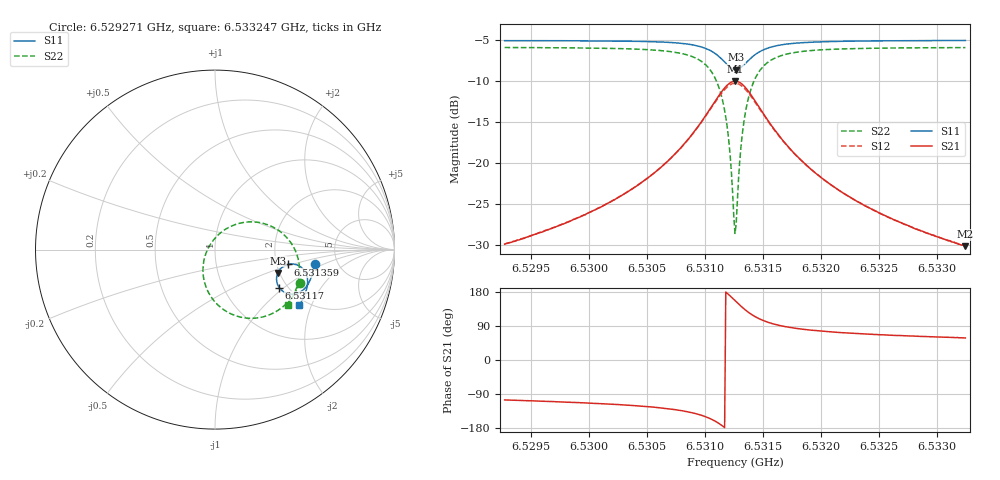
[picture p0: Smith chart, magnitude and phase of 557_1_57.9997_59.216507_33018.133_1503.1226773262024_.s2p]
#  HZ  S  RI  R  50.00
! Rohde & Schwarz Vector Network Analyzer
! Rohde-Schwarz,ZNB20-2Port,1311601062101988,3.16
! Created: UTC 3/21/2024, 1:15:14 AM
! freq[Hz]  re:S11  im:S11  re:S21  im:S21  re:S12  im:S12  re:S22  im:S22
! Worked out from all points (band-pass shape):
!   401 points, 6.529271 GHz to 6.533247 GHz, reference 50 ohm
!   highest |S21| = -9.97 dB at 6.531259 GHz (marker M1); lowest = -30.1 dB at 6.533247 GHz (marker M2)
!   |S21| within 3 dB of the highest: 6.531062 GHz to 6.531459 GHz (397.2 kHz wide, 0.00608 % of centre)
!   lowest |S11| = -8.6 dB at 6.531269 GHz (marker M3), VSWR 2.19, Z = 97.9 - j29.5 ohm
!   |S11| at or under -10 dB: nowhere
!   |S22| runs from -28.6 to -5.9 dB; largest |S21 - S12| = 0.013
!   S11 on the Smith chart (normalised r, x): 6.529271 GHz: 3.36, -0.77; 6.53117 GHz: 1.81, -0.92; 6.531359 GHz: 2.30, -0.46; 6.533247 GHz: 1.82, -1.64
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6.5292715e9  0.5553 -0.0781  -0.00853 -0.031  -0.00917 -0.0309  0.4735 -0.1875
6.5299374e9  0.5435 -0.1337  -0.0186 -0.0439  -0.0196 -0.0436  0.4405 -0.2489
6.5303051e9  0.5311 -0.1682  -0.0314 -0.0572  -0.0327 -0.0564  0.4069 -0.2918
6.5306033e9  0.5131 -0.2006  -0.054 -0.0749  -0.0562 -0.0734  0.3554 -0.3358
6.5308319e9  0.4848 -0.2298  -0.0955 -0.094  -0.0982 -0.0906  0.272 -0.3737
6.5310009e9  0.4393 -0.2478  -0.1659 -0.0988  -0.1681 -0.092  0.1429 -0.3763
6.5311003e9  0.3931 -0.2408  -0.237 -0.07  -0.2356 -0.0601  0.0242 -0.3158
6.5311699e9  0.3577 -0.2113  -0.2886 -0.00856  -0.282 0.00156  -0.0516 -0.2037
6.5311997e9  0.3472 -0.1899  -0.3017 0.0317  -0.2928 0.0402  -0.0665 -0.135
6.5312196e9  0.3436 -0.1733  -0.3045 0.062  -0.2942 0.069  -0.0654 -0.0849
6.5312494e9  0.3446 -0.1469  -0.2977 0.1091  -0.2861 0.113  -0.046 -0.00935
6.5312593e9  0.3469 -0.1382  -0.2921 0.1242  -0.2804 0.1273  -0.0344 0.0146
6.5312693e9  0.35 -0.1298  -0.2852 0.1389  -0.2735 0.141  -0.0205 0.0372
6.531319e9  0.3773 -0.0961  -0.233 0.1967  -0.2233 0.1944  0.0744 0.1226
6.5313587e9  0.4057 -0.0826  -0.1817 0.2197  -0.1748 0.2158  0.1625 0.1517
6.5314283e9  0.4505 -0.0832  -0.1035 0.2197  -0.1001 0.2162  0.293 0.1385
6.5315277e9  0.4893 -0.1069  -0.0371 0.1859  -0.0355 0.184  0.4001 0.067
6.5316768e9  0.5111 -0.1442  0.00226 0.1367  0.00333 0.136  0.4577 -0.032
6.5319252e9  0.5159 -0.1882  0.0181 0.089  0.0193 0.0885  0.4707 -0.1315
6.5322135e9  0.5094 -0.2233  0.0203 0.0612  0.0213 0.061  0.46 -0.1957
6.5325912e9  0.4966 -0.2584  0.0192 0.0425  0.02 0.0422  0.4405 -0.2477
6.5332472e9  0.4707 -0.3078  0.0165 0.0265  0.017 0.0263  0.4058 -0.3068
